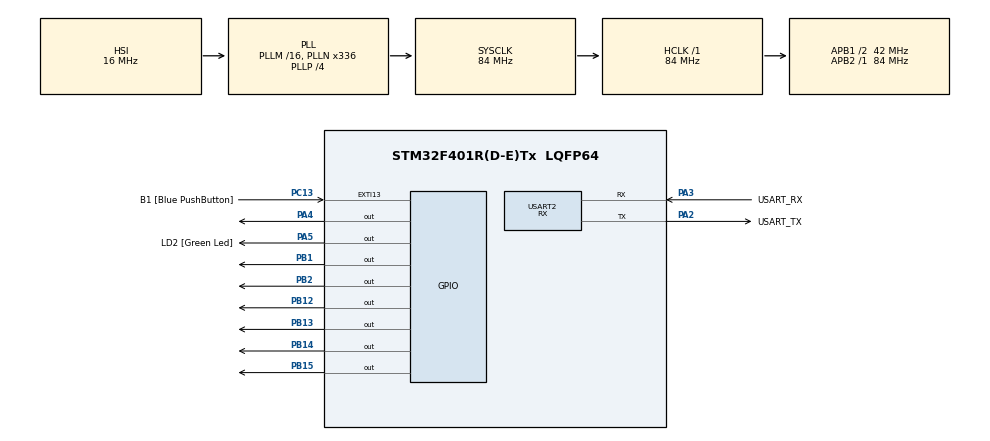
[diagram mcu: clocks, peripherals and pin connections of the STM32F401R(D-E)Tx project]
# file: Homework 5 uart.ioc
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Mcu.Family=STM32F4
Mcu.Name=STM32F401R(D-E)Tx
Mcu.Package=LQFP64
NVIC.PriorityGroup=NVIC_PRIORITYGROUP_0
NVIC.USART2_IRQn=true\:0\:0\:false\:false\:true\:true\:true\:true
PA13.GPIO_Label=TMS
PA13.Mode=Serial_Wire
PA13.Signal=SYS_JTMS-SWDIO
PA14.GPIO_Label=TCK
PA14.Mode=Serial_Wire
PA14.Signal=SYS_JTCK-SWCLK
PA2.GPIO_Label=USART_TX
PA2.GPIO_Mode=GPIO_MODE_AF_PP
PA2.GPIO_PuPd=GPIO_NOPULL
PA2.GPIO_Speed=GPIO_SPEED_FREQ_LOW
PA2.Mode=Asynchronous
PA2.Signal=USART2_TX
PA3.GPIO_Label=USART_RX
PA3.GPIO_Mode=GPIO_MODE_AF_PP
PA3.GPIO_PuPd=GPIO_NOPULL
PA3.GPIO_Speed=GPIO_SPEED_FREQ_LOW
PA3.Mode=Asynchronous
PA3.Signal=USART2_RX
PA4.Signal=GPIO_Output
PA5.GPIO_Label=LD2 [Green Led]
PA5.GPIO_Mode=GPIO_MODE_OUTPUT_PP
PA5.GPIO_PuPd=GPIO_NOPULL
PA5.GPIO_Speed=GPIO_SPEED_FREQ_LOW
PA5.Signal=GPIO_Output
PB1.Signal=GPIO_Output
PB12.Signal=GPIO_Output
PB13.Signal=GPIO_Output
PB14.Signal=GPIO_Output
PB15.Signal=GPIO_Output
PB2.Signal=GPIO_Output
PB3.GPIO_Label=SWO
PB3.Signal=SYS_JTDO-SWO
PC13-ANTI_TAMP.GPIO_Label=B1 [Blue PushButton]
PC13-ANTI_TAMP.GPIO_ModeDefaultEXTI=GPIO_MODE_IT_FALLING
PC13-ANTI_TAMP.GPIO_PuPd=GPIO_NOPULL
PC13-ANTI_TAMP.Signal=GPXTI13
PC14-OSC32_IN.Mode=LSE-External-Oscillator
PC14-OSC32_IN.Signal=RCC_OSC32_IN
PC15-OSC32_OUT.Mode=LSE-External-Oscillator
PC15-OSC32_OUT.Signal=RCC_OSC32_OUT
PH0\ -\ OSC_IN.Mode=HSE-External-Clock-Source
PH0\ -\ OSC_IN.Signal=RCC_OSC_IN
PH1\ -\ OSC_OUT.Mode=HSE-External-Clock-Source
PH1\ -\ OSC_OUT.Signal=RCC_OSC_OUT
ProjectManager.HeapSize=0x200
ProjectManager.StackSize=0x400
ProjectManager.TargetToolchain=STM32CubeIDE
RCC.48MHZClocksFreq_Value=48000000
RCC.AHBFreq_Value=84000000
RCC.APB1CLKDivider=RCC_HCLK_DIV2
RCC.APB1Freq_Value=42000000
RCC.APB1TimFreq_Value=84000000
RCC.APB2Freq_Value=84000000
RCC.APB2TimFreq_Value=84000000
RCC.CortexFreq_Value=84000000
RCC.HCLKFreq_Value=84000000
RCC.HSE_VALUE=8000000
RCC.HSI_VALUE=16000000
RCC.PLLN=336
RCC.PLLP=RCC_PLLP_DIV4
RCC.PLLQ=7
RCC.SYSCLKFreq_VALUE=84000000
RCC.SYSCLKSource=RCC_SYSCLKSOURCE_PLLCLK
RCC.VCOOutputFreq_Value=336000000
USART2.Mode=MODE_RX
USART2.VirtualMode=VM_ASYNC
board=NUCLEO-F401RE

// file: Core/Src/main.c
/* USER CODE BEGIN Header */
/**
 ******************************************************************************
 * @file           : main.c
 * @brief          : Main program body
 ******************************************************************************
 * @attention
 *
 * Copyright (c) 2024 STMicroelectronics.
 * All rights reserved.
 *
 * This software is licensed under terms that can be found in the LICENSE file
 * in the root directory of this software component.
 * If no LICENSE file comes with this software, it is provided AS-IS.
 *
 ******************************************************************************
 */
/* USER CODE END Header */
#include "main.h"

/* USER CODE BEGIN Includes */
#include <string.h>
#include "PMDB16_LCD.h"

/* USER CODE END Includes */

UART_HandleTypeDef huart2;

void SystemClock_Config(void);
static void MX_GPIO_Init(void);
static void MX_USART2_UART_Init(void);

/* USER CODE BEGIN 0 */
char buff='\0';
char buff_str[33]= {" "};
char buff_h[17] = {" "};
char buff_l[17] = {" "};
int buff_index = 0;
int reset = 0;

void HAL_UART_RxCpltCallback(UART_HandleTypeDef *huart){
	HAL_UART_Receive_IT(&huart2,&buff,sizeof(buff));

	if(reset == 1){
		for(int i =0; i< 32; i++) buff_str[i] = ' ';
		buff_str[32] = '\0';
		reset = 0;
		buff_index = 0;
	}
	if(buff == '\r') {
		reset = 1;
		return;
	}
	if(buff_index <= 32){
		buff_str[buff_index] = buff;
		buff_index++;
	}else{
		for(int i = 1; i < 33; i++){
			buff_str[i - 1] = buff_str[i];
		}
		buff_str[32] = buff;

	}
    strncpy(buff_h, buff_str, 16);

    // Copia i successivi 16 caratteri nella seconda stringa
    strncpy(buff_l, buff_str + 16, 16);

	lcd_println(&buff_h, 0);
	lcd_println(&buff_l, 1);
}

/* USER CODE END 0 */

int main(void)
{

  /* MCU Configuration--------------------------------------------------------*/

  /* Reset of all peripherals, Initializes the Flash interface and the Systick. */
  HAL_Init();

  /* Configure the system clock */
  SystemClock_Config();

  /* Initialize all configured peripherals */
  MX_GPIO_Init();
  MX_USART2_UART_Init();
  /* USER CODE BEGIN 2 */
	lcd_initialize();
	lcd_backlight_ON();
	HAL_UART_Receive_IT(&huart2,&buff,sizeof(buff));

  /* USER CODE END 2 */

  /* Infinite loop */
	while (1)
	{

	}
}

void SystemClock_Config(void)
{
  RCC_OscInitTypeDef RCC_OscInitStruct = {0};
  RCC_ClkInitTypeDef RCC_ClkInitStruct = {0};

  /** Configure the main internal regulator output voltage
  */
  __HAL_RCC_PWR_CLK_ENABLE();
  __HAL_PWR_VOLTAGESCALING_CONFIG(PWR_REGULATOR_VOLTAGE_SCALE2);

  /** Initializes the RCC Oscillators according to the specified parameters
  * in the RCC_OscInitTypeDef structure.
  */
  RCC_OscInitStruct.OscillatorType = RCC_OSCILLATORTYPE_HSI;
  RCC_OscInitStruct.HSIState = RCC_HSI_ON;
  RCC_OscInitStruct.HSICalibrationValue = RCC_HSICALIBRATION_DEFAULT;
  RCC_OscInitStruct.PLL.PLLState = RCC_PLL_ON;
  RCC_OscInitStruct.PLL.PLLSource = RCC_PLLSOURCE_HSI;
  RCC_OscInitStruct.PLL.PLLM = 16;
  RCC_OscInitStruct.PLL.PLLN = 336;
  RCC_OscInitStruct.PLL.PLLP = RCC_PLLP_DIV4;
  RCC_OscInitStruct.PLL.PLLQ = 7;
  if (HAL_RCC_OscConfig(&RCC_OscInitStruct) != HAL_OK)
  {
    Error_Handler();
  }

  /** Initializes the CPU, AHB and APB buses clocks
  */
  RCC_ClkInitStruct.ClockType = RCC_CLOCKTYPE_HCLK|RCC_CLOCKTYPE_SYSCLK
                              |RCC_CLOCKTYPE_PCLK1|RCC_CLOCKTYPE_PCLK2;
  RCC_ClkInitStruct.SYSCLKSource = RCC_SYSCLKSOURCE_PLLCLK;
  RCC_ClkInitStruct.AHBCLKDivider = RCC_SYSCLK_DIV1;
  RCC_ClkInitStruct.APB1CLKDivider = RCC_HCLK_DIV2;
  RCC_ClkInitStruct.APB2CLKDivider = RCC_HCLK_DIV1;

  if (HAL_RCC_ClockConfig(&RCC_ClkInitStruct, FLASH_LATENCY_2) != HAL_OK)
  {
    Error_Handler();
  }
}

static void MX_USART2_UART_Init(void)
{

  huart2.Instance = USART2;
  huart2.Init.BaudRate = 115200;
  huart2.Init.WordLength = UART_WORDLENGTH_8B;
  huart2.Init.StopBits = UART_STOPBITS_1;
  huart2.Init.Parity = UART_PARITY_NONE;
  huart2.Init.Mode = UART_MODE_RX;
  huart2.Init.HwFlowCtl = UART_HWCONTROL_NONE;
  huart2.Init.OverSampling = UART_OVERSAMPLING_16;
  if (HAL_UART_Init(&huart2) != HAL_OK)
  {
    Error_Handler();
  }

}

static void MX_GPIO_Init(void)
{
  GPIO_InitTypeDef GPIO_InitStruct = {0};

  /* GPIO Ports Clock Enable */
  __HAL_RCC_GPIOC_CLK_ENABLE();
  __HAL_RCC_GPIOH_CLK_ENABLE();
  __HAL_RCC_GPIOA_CLK_ENABLE();
  __HAL_RCC_GPIOB_CLK_ENABLE();

  /*Configure GPIO pin Output Level */
  HAL_GPIO_WritePin(GPIOA, GPIO_PIN_4|LD2_Pin, GPIO_PIN_RESET);

  /*Configure GPIO pin Output Level */
  HAL_GPIO_WritePin(GPIOB, GPIO_PIN_1|GPIO_PIN_2|GPIO_PIN_12|GPIO_PIN_13
                          |GPIO_PIN_14|GPIO_PIN_15, GPIO_PIN_RESET);

  /*Configure GPIO pin : B1_Pin */
  GPIO_InitStruct.Pin = B1_Pin;
  GPIO_InitStruct.Mode = GPIO_MODE_IT_FALLING;
  GPIO_InitStruct.Pull = GPIO_NOPULL;
  HAL_GPIO_Init(B1_GPIO_Port, &GPIO_InitStruct);

  /*Configure GPIO pins : PA4 LD2_Pin */
  GPIO_InitStruct.Pin = GPIO_PIN_4|LD2_Pin;
  GPIO_InitStruct.Mode = GPIO_MODE_OUTPUT_PP;
  GPIO_InitStruct.Pull = GPIO_NOPULL;
  GPIO_InitStruct.Speed = GPIO_SPEED_FREQ_LOW;
  HAL_GPIO_Init(GPIOA, &GPIO_InitStruct);

  /*Configure GPIO pins : PB1 PB2 PB12 PB13
                           PB14 PB15 */
  GPIO_InitStruct.Pin = GPIO_PIN_1|GPIO_PIN_2|GPIO_PIN_12|GPIO_PIN_13
                          |GPIO_PIN_14|GPIO_PIN_15;
  GPIO_InitStruct.Mode = GPIO_MODE_OUTPUT_PP;
  GPIO_InitStruct.Pull = GPIO_NOPULL;
  GPIO_InitStruct.Speed = GPIO_SPEED_FREQ_LOW;
  HAL_GPIO_Init(GPIOB, &GPIO_InitStruct);

}

void Error_Handler(void)
{
	__disable_irq();
	while (1)
	{
	}
}
